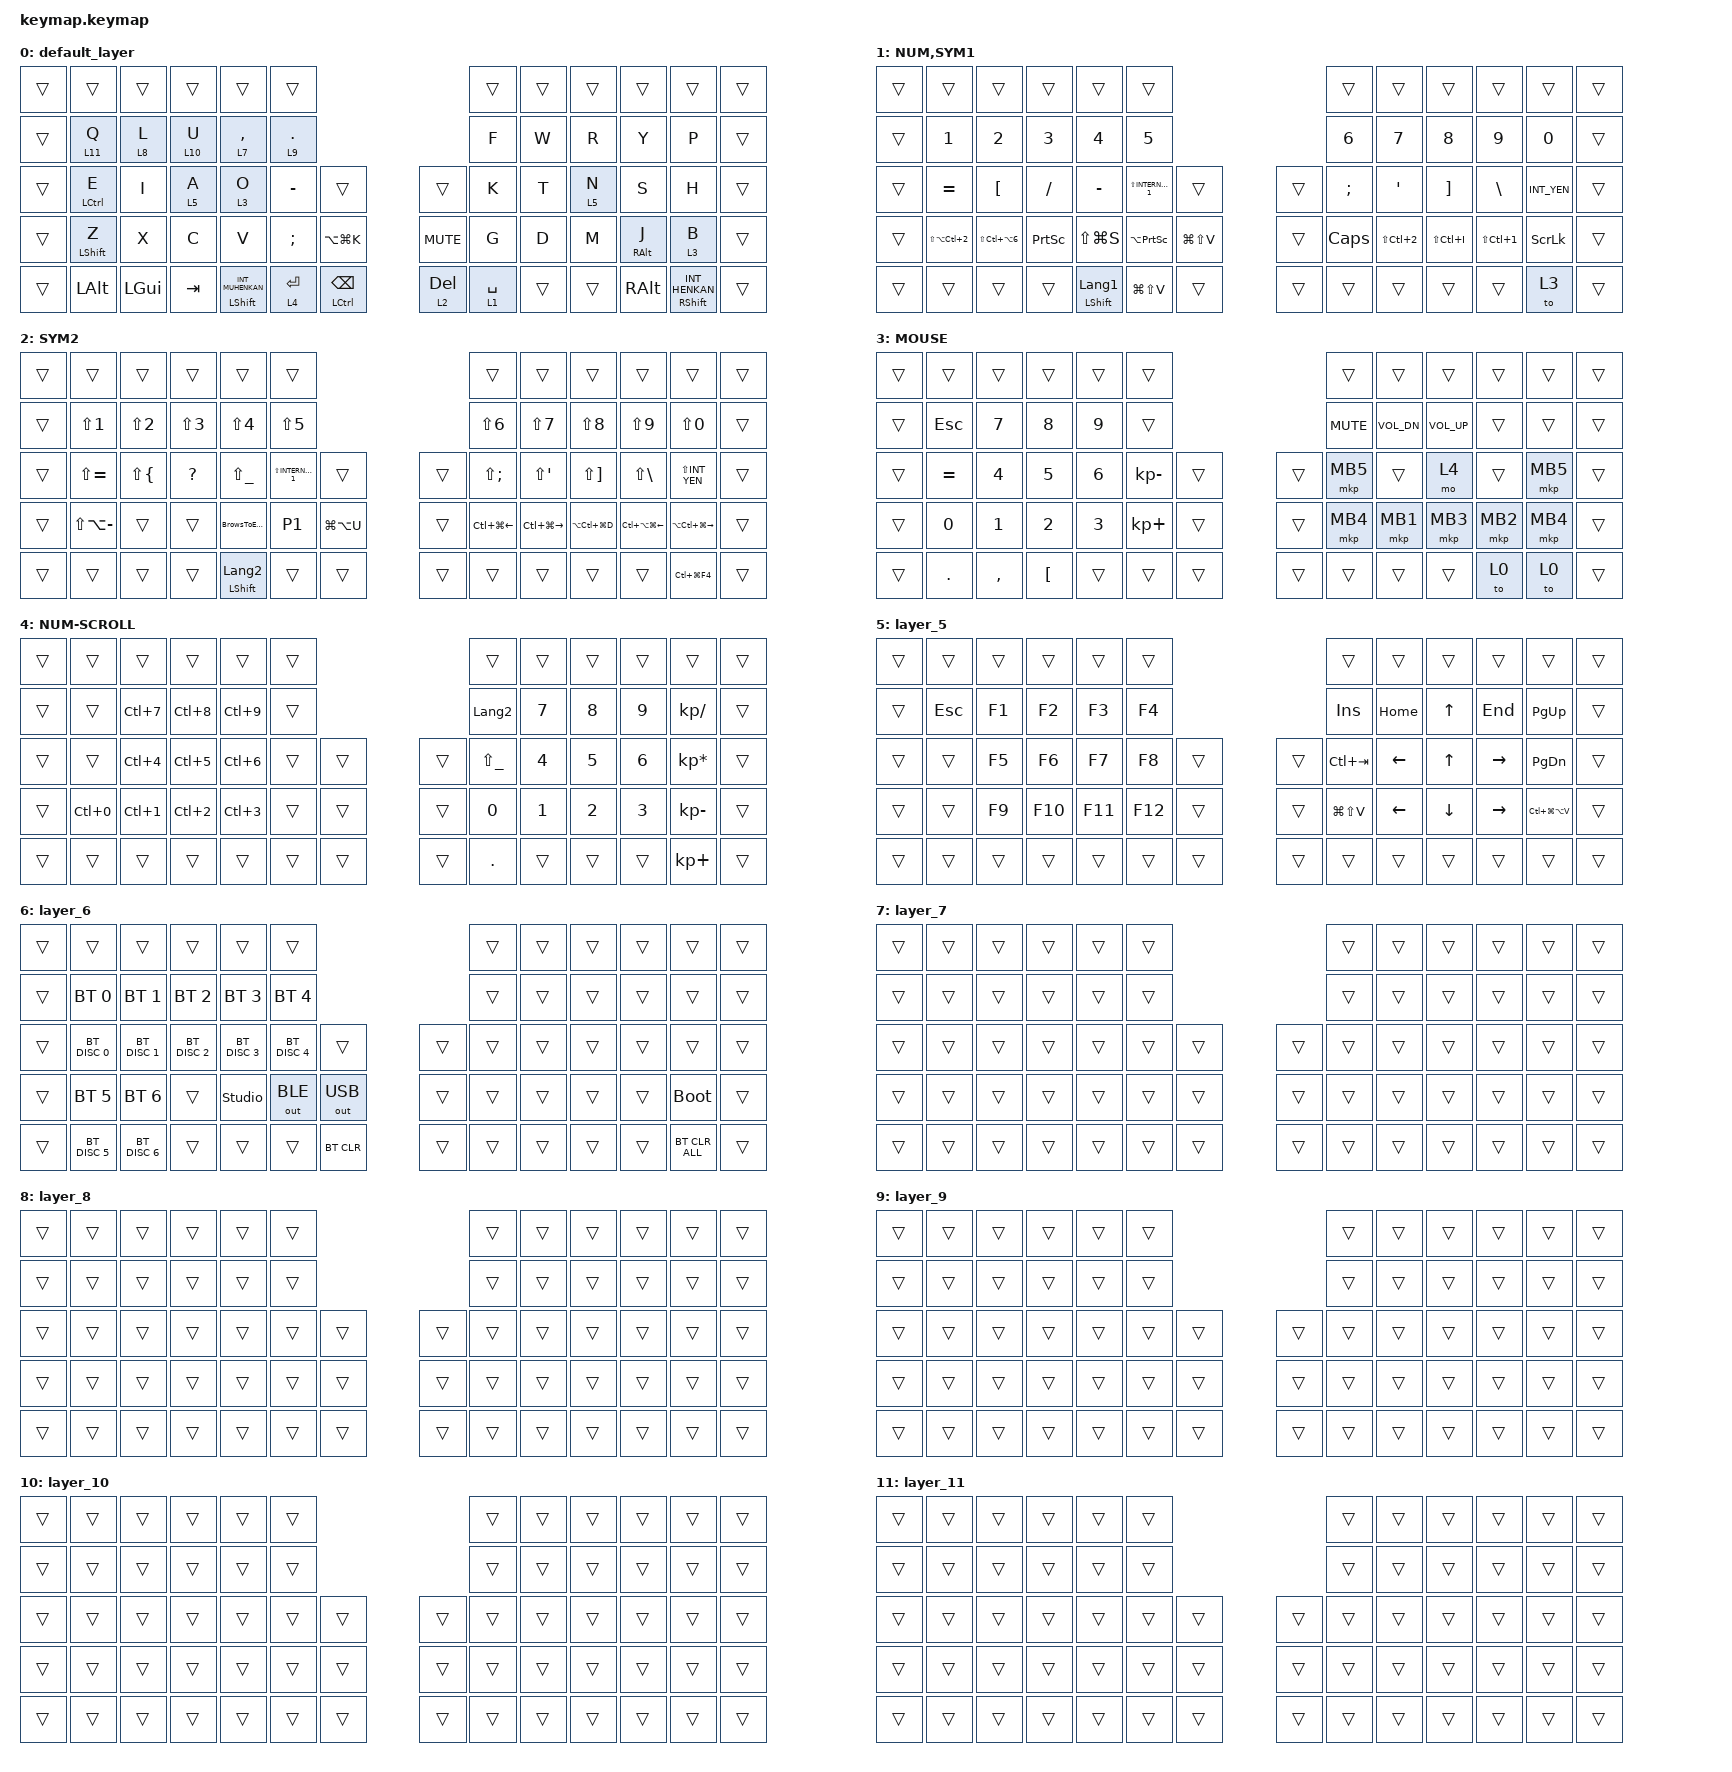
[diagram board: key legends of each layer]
#include <behaviors.dtsi>
#include <dt-bindings/zmk/bt.h>
#include <dt-bindings/zmk/keys.h>
#include <dt-bindings/zmk/outputs.h>
#include <dt-bindings/zmk/pointing.h>
#include "gestures.dtsi"

&mt {
    tapping-term-ms = <180>;
    quick-tap-ms = <300>;
    flavor = "balanced";
};

/ {
    combos {
        compatible = "zmk,combos";

        tab {
            bindings = <&kp TAB>;
            key-positions = <25 26>;
        };

        esc {
            bindings = <&kp ESCAPE>;
            key-positions = <13 14>;
        };

        caps {
            bindings = <&kp CAPSLOCK>;
            key-positions = <39 40>;
        };

        BS {
            bindings = <&kp BACKSPACE>;
            key-positions = <21 22>;
        };

        LANG_2 {
            bindings = <&kp LANGUAGE_2>;
            key-positions = <27 28>;
        };

        LANG_1 {
            bindings = <&kp LANGUAGE_1>;
            key-positions = <33 34>;
        };

        Layer_6 {
            bindings = <&mo 6>;
            key-positions = <47 48>;
        };

        Layer_4 {
            bindings = <&mo 4>;
            key-positions = <48 49>;
        };

        combo_ctrl_alt_tab {
            key-positions = <15 16>;
            bindings = <&kp LA(LC(TAB))>;
        };
    };

    macros {
        BrowsToExploree: BrowsToExploree {
            compatible = "zmk,behavior-macro";
            #binding-cells = <0>;
            bindings = <&kp LS(LA(B)) &kp ENTER &kp LG(NUMBER_1)>;
            label = "BROWSTOEXPLOREE";
        };

        to_layer_0: to_layer_0 {
            compatible = "zmk,behavior-macro-one-param";
            #binding-cells = <1>;
            bindings = <&to 0 &macro_param_1to1 &kp MACRO_PLACEHOLDER>;
            label = "TO_LAYER_0";
        };

        P1: P1 {
            compatible = "zmk,behavior-macro";
            #binding-cells = <0>;
            bindings = <&kp LS(Y) &kp U &kp S &kp H &kp I &kp NUMBER_1 &kp N9 &kp N9 &kp NUMBER_1 &kp N0 &kp NUMBER_3 &kp N0 &kp NUMBER_6>;
            label = "P1";
        };
    };

    behaviors {
        lt_to_layer_0: lt_to_layer_0 {
            compatible = "zmk,behavior-hold-tap";
            label = "LAYER_TAP_TO_0";
            bindings = <&mo>, <&to_layer_0>;

            #binding-cells = <2>;
            tapping-term-ms = <180>;
        };
    };

    keymap {
        compatible = "zmk,keymap";

        default_layer {
            bindings = <
&trans  &trans            &trans    &trans    &trans                       &trans                                                 &trans       &trans  &trans   &trans           &trans                      &trans
&trans  &lt 11 Q          &lt 8 L   &lt 10 U  &lt 7 COMMA                  &lt 9 PERIOD                                           &kp F        &kp W   &kp R    &kp Y            &kp P                       &trans
&trans  &mt LCTRL E       &kp I     &lt 5 A   &lt 3 O                      &kp MINUS      &trans                      &trans      &kp K        &kp T   &lt 5 N  &kp S            &kp H                       &trans
&trans  &mt LEFT_SHIFT Z  &kp X     &kp C     &kp V                        &kp SEMICOLON  &kp LA(LG(K))               &kp C_MUTE  &kp G        &kp D   &kp M    &mt RIGHT_ALT J  &lt 3 B                     &trans
&trans  &kp LEFT_ALT      &kp LGUI  &kp TAB   &mt LEFT_SHIFT INT_MUHENKAN  &lt 4 ENTER    &mt LEFT_CONTROL BACKSPACE  &lt 2 DEL   &lt 1 SPACE  &trans  &trans   &kp RIGHT_ALT    &mt RIGHT_SHIFT INT_HENKAN  &trans
            >;
        };

        NUM,SYM1 {
            bindings = <
&trans  &trans                    &trans                    &trans           &trans                     &trans                                          &trans         &trans                &trans             &trans                &trans          &trans
&trans  &kp NUMBER_1              &kp NUMBER_2              &kp NUMBER_3     &kp NUMBER_4               &kp N5                                          &kp NUMBER_6   &kp N7                &kp N8             &kp N9                &kp N0          &trans
&trans  &kp EQUAL                 &kp LEFT_BRACKET          &kp SLASH        &kp MINUS                  &kp LS(INTERNATIONAL_1)  &trans         &trans  &kp SEMICOLON  &kp SQT               &kp RIGHT_BRACKET  &kp BACKSLASH         &kp INT_YEN     &trans
&trans  &kp LS(LA(LC(NUMBER_2)))  &kp LS(LC(LA(NUMBER_6)))  &kp PRINTSCREEN  &kp LS(LG(S))              &kp LA(PRINTSCREEN)      &kp LG(LS(V))  &trans  &kp CAPSLOCK   &kp LS(LC(NUMBER_2))  &kp LS(LC(I))      &kp LS(LC(NUMBER_1))  &kp SCROLLLOCK  &trans
&trans  &trans                    &trans                    &trans           &mt LEFT_SHIFT LANGUAGE_1  &kp LG(LS(V))            &trans         &trans  &trans         &trans                &trans             &trans                &to 3           &trans
            >;
        };

        SYM2 {
            bindings = <
&trans  &trans             &trans              &trans            &trans                     &trans                                          &trans                  &trans                   &trans                 &trans                      &trans                       &trans
&trans  &kp LS(NUMBER_1)   &kp LS(NUMBER_2)    &kp LS(NUMBER_3)  &kp LS(NUMBER_4)           &kp LS(N5)                                      &kp LS(NUMBER_6)        &kp LS(N7)               &kp LS(N8)             &kp LS(N9)                  &kp LS(N0)                   &trans
&trans  &kp LS(EQUAL)      &kp LS(LEFT_BRACE)  &kp QUESTION      &kp LS(UNDERSCORE)         &kp LS(INTERNATIONAL_1)  &trans         &trans  &kp LS(SEMICOLON)       &kp LS(SQT)              &kp LS(RIGHT_BRACKET)  &kp LS(BACKSLASH)           &kp LS(INT_YEN)              &trans
&trans  &kp LS(LA(MINUS))  &trans              &trans            &BrowsToExploree           &P1                      &kp LG(LA(U))  &trans  &kp LC(LG(LEFT_ARROW))  &kp LC(LG(RIGHT_ARROW))  &kp LA(LC(LG(D)))      &kp LC(LA(LG(LEFT_ARROW)))  &kp LA(LC(LG(RIGHT_ARROW)))  &trans
&trans  &trans             &trans              &trans            &mt LEFT_SHIFT LANGUAGE_2  &trans                   &trans         &trans  &trans                  &trans                   &trans                 &trans                      &kp LC(LG(F4))               &trans
            >;
        };

        MOUSE {
            bindings = <
&trans  &trans      &trans        &trans            &trans        &trans                        &trans      &trans        &trans           &trans    &trans    &trans
&trans  &kp ESCAPE  &kp N7        &kp N8            &kp N9        &trans                        &kp C_MUTE  &kp C_VOL_DN  &kp C_VOLUME_UP  &trans    &trans    &trans
&trans  &kp EQUAL   &kp NUMBER_4  &kp N5            &kp NUMBER_6  &kp KP_MINUS  &trans  &trans  &mkp MB5    &trans        &mo 4            &trans    &mkp MB5  &trans
&trans  &kp N0      &kp NUMBER_1  &kp NUMBER_2      &kp NUMBER_3  &kp KP_PLUS   &trans  &trans  &mkp MB4    &mkp MB1      &mkp MB3         &mkp MB2  &mkp MB4  &trans
&trans  &kp DOT     &kp COMMA     &kp LEFT_BRACKET  &trans        &trans        &trans  &trans  &trans      &trans        &trans           &to 0     &to 0     &trans
            >;
        };

        NUM-SCROLL {
            bindings = <
&trans  &trans      &trans            &trans            &trans            &trans                  &trans              &trans        &trans        &trans        &trans           &trans
&trans  &trans      &kp LC(N7)        &kp LC(N8)        &kp LC(N9)        &trans                  &kp LANGUAGE_2      &kp N7        &kp N8        &kp N9        &kp KP_SLASH     &trans
&trans  &trans      &kp LC(NUMBER_4)  &kp LC(N5)        &kp LC(NUMBER_6)  &trans  &trans  &trans  &kp LS(UNDERSCORE)  &kp NUMBER_4  &kp N5        &kp NUMBER_6  &kp KP_MULTIPLY  &trans
&trans  &kp LC(N0)  &kp LC(NUMBER_1)  &kp LC(NUMBER_2)  &kp LC(NUMBER_3)  &trans  &trans  &trans  &kp N0              &kp NUMBER_1  &kp NUMBER_2  &kp NUMBER_3  &kp KP_MINUS     &trans
&trans  &trans      &trans            &trans            &trans            &trans  &trans  &trans  &kp DOT             &trans        &trans        &trans        &kp KP_PLUS      &trans
            >;
        };

        layer_5 {
            bindings = <
&trans  &trans   &trans  &trans   &trans   &trans                   &trans         &trans          &trans          &trans           &trans             &trans
&trans  &kp ESC  &kp F1  &kp F2   &kp F3   &kp F4                   &kp INS        &kp HOME        &kp UP_ARROW    &kp END          &kp PG_UP          &trans
&trans  &trans   &kp F5  &kp F6   &kp F7   &kp F8   &trans  &trans  &kp LC(TAB)    &kp LEFT_ARROW  &kp UP_ARROW    &kp RIGHT_ARROW  &kp PAGE_DOWN      &trans
&trans  &trans   &kp F9  &kp F10  &kp F11  &kp F12  &trans  &trans  &kp LG(LS(V))  &kp LEFT_ARROW  &kp DOWN_ARROW  &kp RIGHT_ARROW  &kp LC(LG(LA(V)))  &trans
&trans  &trans   &trans  &trans   &trans   &trans   &trans  &trans  &trans         &trans          &trans          &trans           &trans             &trans
            >;
        };

        layer_6 {
            bindings = <
&trans  &trans         &trans         &trans         &trans          &trans                               &trans  &trans  &trans  &trans  &trans          &trans
&trans  &bt BT_SEL 0   &bt BT_SEL 1   &bt BT_SEL 2   &bt BT_SEL 3    &bt BT_SEL 4                         &trans  &trans  &trans  &trans  &trans          &trans
&trans  &bt BT_DISC 0  &bt BT_DISC 1  &bt BT_DISC 2  &bt BT_DISC 3   &bt BT_DISC 4  &trans        &trans  &trans  &trans  &trans  &trans  &trans          &trans
&trans  &bt BT_SEL 5   &bt BT_SEL 6   &trans         &studio_unlock  &out OUT_BLE   &out OUT_USB  &trans  &trans  &trans  &trans  &trans  &bootloader     &trans
&trans  &bt BT_DISC 5  &bt BT_DISC 6  &trans         &trans          &trans         &bt BT_CLR    &trans  &trans  &trans  &trans  &trans  &bt BT_CLR_ALL  &trans
            >;
        };

        layer_7 {
            bindings = <
&trans  &trans  &trans  &trans  &trans  &trans                  &trans  &trans  &trans  &trans  &trans  &trans
&trans  &trans  &trans  &trans  &trans  &trans                  &trans  &trans  &trans  &trans  &trans  &trans
&trans  &trans  &trans  &trans  &trans  &trans  &trans  &trans  &trans  &trans  &trans  &trans  &trans  &trans
&trans  &trans  &trans  &trans  &trans  &trans  &trans  &trans  &trans  &trans  &trans  &trans  &trans  &trans
&trans  &trans  &trans  &trans  &trans  &trans  &trans  &trans  &trans  &trans  &trans  &trans  &trans  &trans
            >;
        };

        layer_8 {
            bindings = <
&trans  &trans  &trans  &trans  &trans  &trans                  &trans  &trans  &trans  &trans  &trans  &trans
&trans  &trans  &trans  &trans  &trans  &trans                  &trans  &trans  &trans  &trans  &trans  &trans
&trans  &trans  &trans  &trans  &trans  &trans  &trans  &trans  &trans  &trans  &trans  &trans  &trans  &trans
&trans  &trans  &trans  &trans  &trans  &trans  &trans  &trans  &trans  &trans  &trans  &trans  &trans  &trans
&trans  &trans  &trans  &trans  &trans  &trans  &trans  &trans  &trans  &trans  &trans  &trans  &trans  &trans
            >;
        };

        layer_9 {
            bindings = <
&trans  &trans  &trans  &trans  &trans  &trans                  &trans  &trans  &trans  &trans  &trans  &trans
&trans  &trans  &trans  &trans  &trans  &trans                  &trans  &trans  &trans  &trans  &trans  &trans
&trans  &trans  &trans  &trans  &trans  &trans  &trans  &trans  &trans  &trans  &trans  &trans  &trans  &trans
&trans  &trans  &trans  &trans  &trans  &trans  &trans  &trans  &trans  &trans  &trans  &trans  &trans  &trans
&trans  &trans  &trans  &trans  &trans  &trans  &trans  &trans  &trans  &trans  &trans  &trans  &trans  &trans
            >;
        };

        layer_10 {
            bindings = <
&trans  &trans  &trans  &trans  &trans  &trans                  &trans  &trans  &trans  &trans  &trans  &trans
&trans  &trans  &trans  &trans  &trans  &trans                  &trans  &trans  &trans  &trans  &trans  &trans
&trans  &trans  &trans  &trans  &trans  &trans  &trans  &trans  &trans  &trans  &trans  &trans  &trans  &trans
&trans  &trans  &trans  &trans  &trans  &trans  &trans  &trans  &trans  &trans  &trans  &trans  &trans  &trans
&trans  &trans  &trans  &trans  &trans  &trans  &trans  &trans  &trans  &trans  &trans  &trans  &trans  &trans
            >;
        };

        layer_11 {
            bindings = <
&trans  &trans  &trans  &trans  &trans  &trans                  &trans  &trans  &trans  &trans  &trans  &trans
&trans  &trans  &trans  &trans  &trans  &trans                  &trans  &trans  &trans  &trans  &trans  &trans
&trans  &trans  &trans  &trans  &trans  &trans  &trans  &trans  &trans  &trans  &trans  &trans  &trans  &trans
&trans  &trans  &trans  &trans  &trans  &trans  &trans  &trans  &trans  &trans  &trans  &trans  &trans  &trans
&trans  &trans  &trans  &trans  &trans  &trans  &trans  &trans  &trans  &trans  &trans  &trans  &trans  &trans
            >;
        };
    };
};
